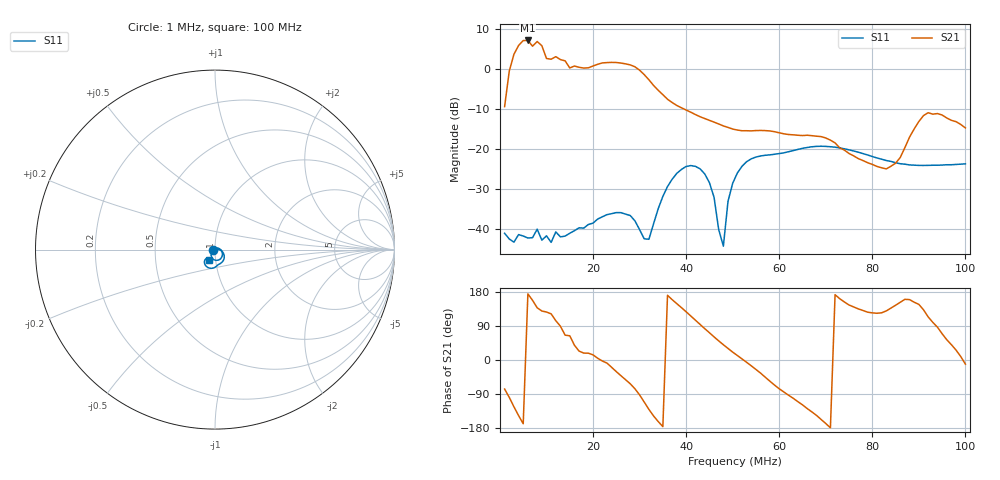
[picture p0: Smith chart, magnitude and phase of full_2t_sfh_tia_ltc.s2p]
# HZ S RI R 50
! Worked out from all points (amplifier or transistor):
!   100 points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, 1 MHz to 100 MHz, reference 50 ohm
!   highest |S21| = 7.1 dB at 6 MHz (marker M1)
!   |S21| within 3 dB of that: 3.213 MHz to 9.526 MHz (6.313 MHz wide, 99.1 % of centre)
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1000001  -0.00876 8.51e-05  0.0779 -0.3283  0 0  0 0
3000001  -0.00637 -0.00232  -0.84 -1.272  0 0  0 0
5000001  -0.00806 -0.000785  -2.22 -0.4611  0 0  0 0
6000001  -0.00752 -0.00135  -2.262 0.217  0 0  0 0
8000001  -0.00956 -0.00233  -1.632 1.48  0 0  0 0
9000001  -0.00713 -0.000814  -1.236 1.513  0 0  0 0
1e7  -0.00569 -0.00581  -0.8049 1.084  0 0  0 0
1.2e7  -0.00656 -0.00631  -0.3372 1.383  0 0  0 0
1.4e7  -0.00559 -0.00583  0.5228 1.15  0 0  0 0
1.8e7  -0.00619 -0.00806  0.9734 0.3208  0 0  0 0
2.4e7  -0.00859 -0.0128  1.139 -0.4014  0 0  0 0
2.9e7  -0.0119 -0.004  0.2571 -1.032  0 0  0 0
3.2e7  -0.000947 0.00731  -0.473 -0.5578  0 0  0 0
3.4e7  0.0154 0.00881  -0.515 -0.1636  0 0  0 0
4.3e7  -0.00853 -0.0555  -0.017 0.2516  0 0  0 0
4.8e7  0.00583 0.00158  0.1475 0.125  0 0  0 0
4.9e7  0.022 0.000608  0.1596 0.0941  0 0  0 0
5.1e7  0.0462 -0.0183  0.168 0.0355  0 0  0 0
6.7e7  -0.0184 -0.1043  -0.1065 -0.0999  0 0  0 0
8.4e7  -0.0483 -0.05  -0.0442 0.0413  0 0  0 0
9.2e7  -0.0354 -0.051  -0.1137 0.2591  0 0  0 0
1e8  -0.0319 -0.0564  0.1792 -0.0344  0 0  0 0
